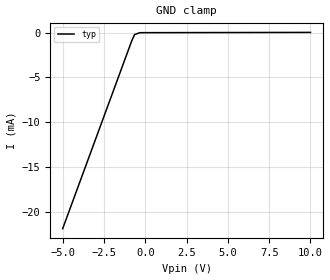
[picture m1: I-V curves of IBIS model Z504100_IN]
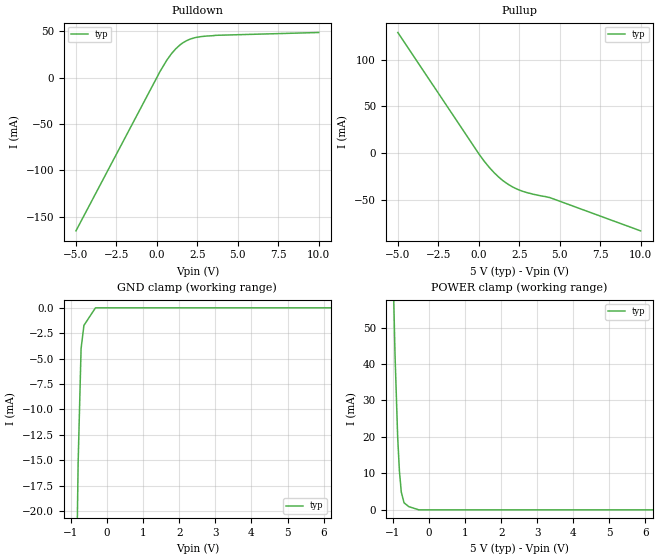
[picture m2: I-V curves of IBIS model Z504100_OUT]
| YOU ARE ONLY AUTHORIZED TO USE THIS SOFTWARE
| ACCORDING TO LICENSOR'S LICENSE RESTRICTIONS.
[IBIS Ver] 3.1
[File Name] mc54hc4050j.ibs
[File Rev] 2.0
[Source] Measured and created by ICX Technology
[Date] Friday 7/14/00 9:08:07 AM
[Copyright]
| (C) COPYRIGHT 1993-2000
| MENTOR GRAPHICS CORPORATION
| ICX STANDARD LIBRARY, ICX PROJECT MODELING,
| ICX CUSTOM MODELING, ICX VENDOR MODEL
| ALL RIGHTS RESERVED.
| THE FOLLOWING ARE TRADEMARKS OR SERVICE MARKS OF
| MENTOR GRAPHICS CORPORATION:ICX (R), ICX STANDARD
| LIBRARY(R), ICX PROJECT MODELING(R), ICX CUSTOM
| MODELING(R), qualityIBIS(TM), MODELVIEWER(TM),
| AND MODELEDITOR(TM)
| ALL COPIES OF SOFTWARE, INCLUDING BUT NOT LIMITED TO
| ANY MODIFICATIONS, ENHANCEMENTS OR DERIVATIVE WORKS,
| MUST CONTAIN ALL MENTOR GRAPHICS CORPORATION'S
| NOTICES AND LEGENDS, INCLUDING THOSE EMBEDDED IN
| SOFTWARE AND THOSE AFFIXED TO SOFTWARE MEDIUM
| AND CONTAINER, AS RECEIVED FROM MENTOR GRAPHICS
| CORPORATION.
|  ZAP Model Builder 2.7
[Component] MC54HC4050J
[Manufacturer] OnSemiconductor
[Package]
| variable   typ   min   max
R_pkg  .212ohms NA NA
L_pkg  4.758nH NA NA
C_pkg  1.944pF NA NA
[Pin] signal_name  model_name  R_pin  L_pin C_pin
1 VCC POWER .224 7.258n 2.683p
2 Y Z504100_OUT .216 5.258n 2.19p
3 A Z504100_IN .208 3.758n 1.697p
4 Y Z504100_OUT .2 2.758n 1.204p
5 A Z504100_IN .2 2.758n 1.204p
6 Y Z504100_OUT .208 3.758n 1.697p
7 A Z504100_IN .216 5.258n 2.19p
8 GND GND .224 7.258n 2.683p
9 A Z504100_IN .224 7.258n 2.683p
10 Y Z504100_OUT .216 5.258n 2.19p
11 A Z504100_IN .208 3.758n 1.697p
12 Y Z504100_OUT .2 2.758n 1.204p
13 NC NC .2 2.758n 1.204p
14 A Z504100_IN .208 3.758n 1.697p
15 Y Z504100_OUT .216 5.258n 2.19p
16 NC NC .224 7.258n 2.683p
| Models and submodels in the file (2): Z504100_IN (Input), Z504100_OUT (Output)
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| (C) COPYRIGHT 1993-2000
| MENTOR GRAPHICS CORPORATION
| ICX STANDARD LIBRARY, ICX PROJECT MODELING,
| ICX CUSTOM MODELING, ICX VENDOR MODEL
| ALL RIGHTS RESERVED.
| THE FOLLOWING ARE TRADEMARKS OR SERVICE MARKS OF
| MENTOR GRAPHICS CORPORATION:ICX (R), ICX STANDARD
| LIBRARY(R), ICX PROJECT MODELING(R), ICX CUSTOM
| MODELING(R), qualityIBIS(TM), MODELVIEWER(TM),
| AND MODELEDITOR(TM)
| ALL COPIES OF SOFTWARE, INCLUDING BUT NOT LIMITED TO
| ANY MODIFICATIONS, ENHANCEMENTS OR DERIVATIVE WORKS,
| MUST CONTAIN ALL MENTOR GRAPHICS CORPORATION'S
| NOTICES AND LEGENDS, INCLUDING THOSE EMBEDDED IN
| SOFTWARE AND THOSE AFFIXED TO SOFTWARE MEDIUM
| AND CONTAINER, AS RECEIVED FROM MENTOR GRAPHICS
| CORPORATION.
| Model Application Version 1.89 2/18/99.
[Model] Z504100_IN
Model_type Input
Vinl = 1.000V
Vinh = 3.500V
C_comp 4.000pF NA NA
| variable typ   min   max
[Voltage Range] 5.000V NA NA
[GND Clamp Reference] 0.000V NA NA
[POWER Clamp Reference] 5.000V NA NA
[GND Clamp]
-5V       -21.89mA   NA         NA
-819.8mV  -926.1uA   NA         NA
-644.8mV  -216.3uA   NA         NA
-322.4mV  -11.31uA   NA         NA
10V       20.43uA    NA         NA
[POWER Clamp]
-5V       0A         NA         NA
10V       0A         NA         NA
| (C) COPYRIGHT 1993-2000
| MENTOR GRAPHICS CORPORATION
| ICX STANDARD LIBRARY, ICX PROJECT MODELING,
| ICX CUSTOM MODELING, ICX VENDOR MODEL
| ALL RIGHTS RESERVED.
| THE FOLLOWING ARE TRADEMARKS OR SERVICE MARKS OF
| MENTOR GRAPHICS CORPORATION:ICX (R), ICX STANDARD
| LIBRARY(R), ICX PROJECT MODELING(R), ICX CUSTOM
| MODELING(R), qualityIBIS(TM), MODELVIEWER(TM),
| AND MODELEDITOR(TM)
| ALL COPIES OF SOFTWARE, INCLUDING BUT NOT LIMITED TO
| ANY MODIFICATIONS, ENHANCEMENTS OR DERIVATIVE WORKS,
| MUST CONTAIN ALL MENTOR GRAPHICS CORPORATION'S
| NOTICES AND LEGENDS, INCLUDING THOSE EMBEDDED IN
| SOFTWARE AND THOSE AFFIXED TO SOFTWARE MEDIUM
| AND CONTAINER, AS RECEIVED FROM MENTOR GRAPHICS
| CORPORATION.
| Model Application Version 1.89 2/18/99.
[Model] Z504100_OUT
Model_type Output
Vref=0.000V
Rref=500.0Mohms
Cref=50.00pF
Vmeas=2.500V
C_comp 8.000pF NA NA
| variable typ   min   max
[Voltage Range] 5.000V NA NA
[POWER Clamp Reference] 5.000V NA NA
[Pullup Reference] 5.000V NA NA
[Pulldown Reference] 0.000V NA NA
[GND Clamp Reference] 0.000V NA NA
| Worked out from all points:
|   slope of the pulldown table from 0 to 0.75 V, typ, clamps not added: 34.2 ohm
|   slope of the pullup table from 0 to 0.75 V, typ, clamps not added: 45.1 ohm
|   POWER clamp passes 1 mA (typ) near -0.58 V on its own axis
[GND Clamp]
-5V       -971.8mA   NA         NA
-1.181V   -112.2mA   NA         NA
-803.6mV  -15.29mA   NA         NA
-721.8mV  -4.029mA   NA         NA
-643.4mV  -1.728mA   NA         NA
-321.7mV  0A         NA         NA
10V       0A         NA         NA
[Pulldown]
-5V       -165mA     NA         NA
200.6mV   6.704mA    NA         NA
625.7mV   19.02mA    NA         NA
914.8mV   25.98mA    NA         NA
1.426V    35.08mA    NA         NA
1.822V    39.58mA    NA         NA
2.116V    41.74mA    NA         NA
3.092V    44.71mA    NA         NA
10V       48.5mA     NA         NA
[Pullup]
-5V       129.5mA    NA         NA
39mV      -1.753mA   NA         NA
663mV     -15.72mA   NA         NA
1.485V    -29.6mA    NA         NA
2.098V    -36.54mA   NA         NA
2.691V    -41.03mA   NA         NA
4.379V    -47.83mA   NA         NA
10V       -83.67mA   NA         NA
[POWER Clamp]
-5V       2.096A     NA         NA
-1.075V   100mA      NA         NA
-942mV    42.62mA    NA         NA
-868mV    19.92mA    NA         NA
-820mV    10.67mA    NA         NA
-768mV    4.883mA    NA         NA
-692mV    1.933mA    NA         NA
-561mV    885uA      NA         NA
-280.5mV  0A         NA         NA
10V       0A         NA         NA
[Ramp]
| variable typ min max
dV/dt_r 2.786/1.199n NA NA
dV/dt_f 2.786/1.117n NA NA
R_load = 500.0Ohms
